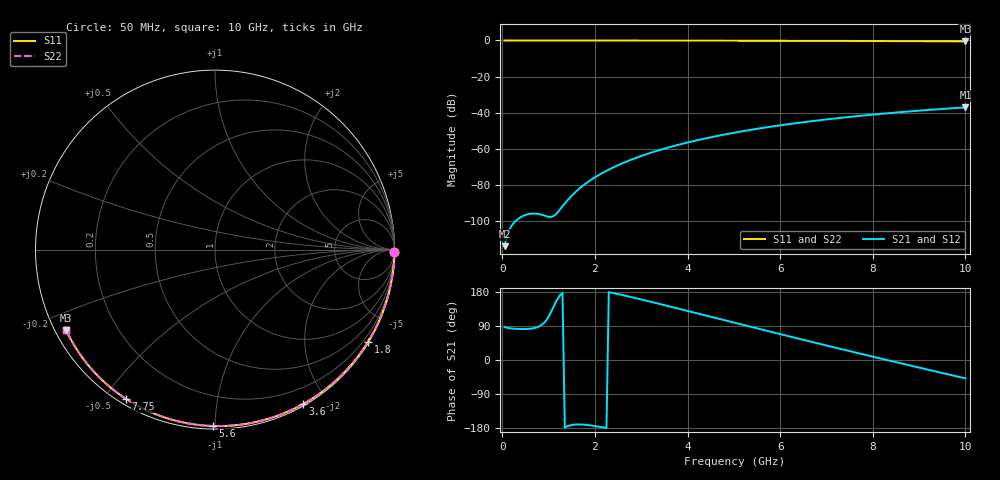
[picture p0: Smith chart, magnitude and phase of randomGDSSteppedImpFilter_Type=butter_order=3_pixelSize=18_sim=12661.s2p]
! freq	dB(S11)	phase(S11)	dB(S12)	phase(S12)
!  dB(S21)	phase(S21)	dB(S22)	phase(S22)
!S-par simulation data
#  GHz  S  DB  R 50
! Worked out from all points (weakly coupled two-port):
!   200 points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, 50 MHz to 10 GHz, reference 50 ohm
!   highest |S21| = -37.00 dB at 10 GHz (marker M1); lowest = -113.7 dB at 50 MHz (marker M2)
!   lowest |S11| = -0.5 dB at 10 GHz (marker M3), VSWR 34.10, Z = 1.56 - j12.6 ohm
!   |S11| at or under -10 dB: nowhere
!   |S22| runs from -0.5 to 0.0 dB; largest |S21 - S12| = 0
!   S11 on the Smith chart (normalised r, x): 50 MHz: open; 1.8 GHz: 0.03, -3.61; 3.6 GHz: 0.02, -1.72; 5.6 GHz: 0.02, -0.99; 7.75 GHz: 0.02, -0.57; 10 GHz: 0.03, -0.25
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0.05  -0.00 -0.9  -113.72 87.2  -113.72 87.2  -0.00 -0.9
0.45  -0.01 -7.9  -97.00 81.7  -97.00 81.7  -0.01 -7.9
0.9  -0.02 -15.7  -96.77 97.7  -96.77 97.7  -0.02 -15.7
1.3  -0.03 -22.5  -91.72 177.3  -91.72 177.3  -0.03 -22.5
1.75  -0.04 -30.2  -80.10 -170.5  -80.10 -170.5  -0.04 -30.2
1.8  -0.04 -31.0  -79.13 -171.0  -79.13 -171.0  -0.04 -31.0
1.95  -0.04 -33.5  -76.48 -173.2  -76.48 -173.2  -0.04 -33.5
2.1  -0.05 -36.0  -74.15 -176.2  -74.15 -176.2  -0.05 -36.0
2.3  -0.05 -39.4  -71.39 179.1  -71.39 179.1  -0.05 -39.4
2.5  -0.05 -42.7  -68.95 173.9  -68.95 173.9  -0.05 -42.7
2.9  -0.06 -49.2  -64.80 162.7  -64.80 162.7  -0.06 -49.2
3.4  -0.08 -57.3  -60.55 147.9  -60.55 147.9  -0.08 -57.3
3.6  -0.08 -60.4  -59.07 141.8  -59.07 141.8  -0.08 -60.4
4.3  -0.10 -71.3  -54.63 120.4  -54.63 120.4  -0.10 -71.3
5.05  -0.13 -82.7  -50.81 97.3  -50.81 97.3  -0.13 -82.7
5.6  -0.15 -90.7  -48.45 80.5  -48.45 80.5  -0.15 -90.8
6.15  -0.18 -98.7  -46.38 63.8  -46.38 63.8  -0.18 -98.7
6.7  -0.21 -106.4  -44.55 47.2  -44.55 47.2  -0.21 -106.4
7.75  -0.28 -120.9  -41.61 16.1  -41.61 16.1  -0.28 -120.9
8.35  -0.33 -129.1  -40.18 -1.4  -40.18 -1.4  -0.33 -129.1
9.2  -0.42 -140.6  -38.41 -25.8  -38.41 -25.8  -0.42 -140.6
10  -0.51 -151.6  -37.00 -48.5  -37.00 -48.5  -0.51 -151.6
